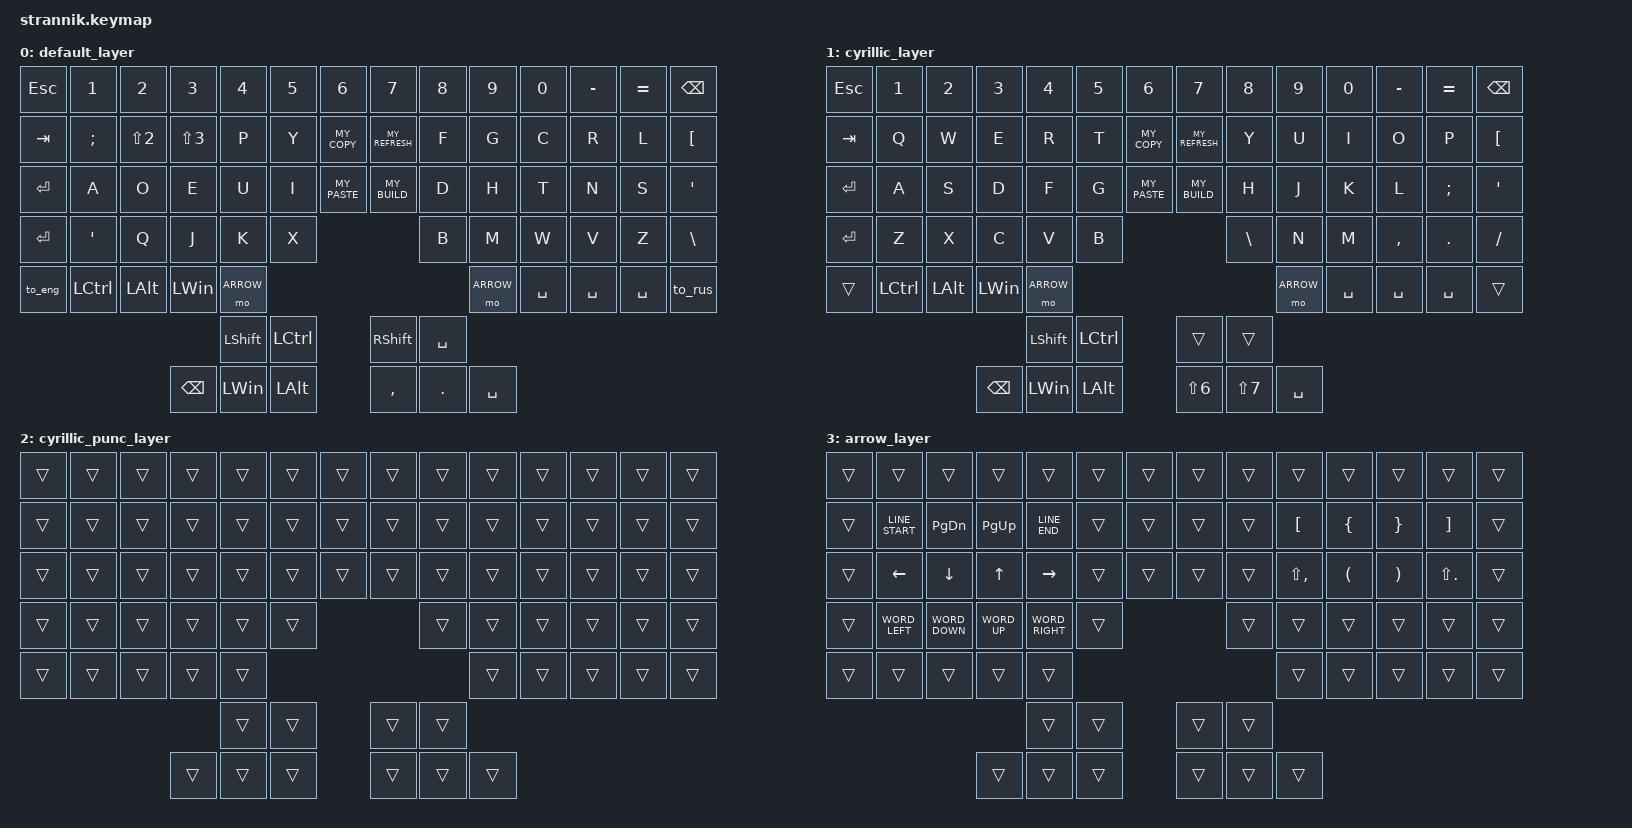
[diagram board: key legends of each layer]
/*
 * Copyright (c) 2020 The ZMK Contributors
 *
 * SPDX-License-Identifier: MIT
 */

#include <behaviors.dtsi>
#include <dt-bindings/zmk/keys.h>
#include <dt-bindings/zmk/bt.h>
// #include "macos/macros.keymap"
#include "platform/macos.keymap"


#define DEF 0
#define CYRILLIC 1
#define CYRILLIC_PUNC 2
#define ARROW 3

&lt { quick_tap_ms = <200>; };
&mt { quick_tap_ms = <200>; };

/ {
    combos {
        compatible = "zmk,combos";

        cb_cut {
            bindings = <&kp MY_CUT>;
            key-positions = <20 34>;
        };

        cb_spdot {
            bindings = <&kp KP_DOT &kp SPACE>;
            key-positions = <72 73>;
        };

        word_bspc {
            bindings = <&kp WORD_BSPC>;
            key-positions = <64 68>;
        };
        
        line_bspc {
            bindings = <&kp LINE_BSPC>;
            key-positions = <68 69>; 
        };
    };

    macros {
        to_eng: to_eng {
            label = "to_eng";
            compatible = "zmk,behavior-macro";
            #binding-cells = <0>;
            bindings = <&to DEF>, <&kp MY_LANG_EN>;
        };
        to_rus: to_rus {
            label = "to_rus";
            compatible = "zmk,behavior-macro";
            #binding-cells = <0>;
            bindings = <&to CYRILLIC>, <&kp MY_LANG_RU>;
        };
    };
    
    keymap {
        compatible = "zmk,keymap";

        default_layer {
// -------------------------------------------------------------------------------------------------------
// |  ESC |  &   |  [   |  {   |  }   |  (   |  =   |   |  *   |  )   |  +   |  ]   |  !   |  #   | BSPC |
// |  TAB | SEMI |  ,   |  .   |  P   |  Y   |  _   |   |  _   |  F   |  G   |  C   |  R   |  L   |  /   |
// |  RET |  A   |  O   |  E   |  U   |  I   |  _   |   |  _   |  D   |  H   |  T   |  N   |  S   |  -   |
// | LSHFT|  '   |  Q   |  J   |  K   |  X   |                 |  B   |  M   |  W   |  V   |  Z   |  \   |
// |  FN  | LCTRL| LALT | LWIN | SPACE|                               |  _   |  _   |  _   |  _   |  _   |
// | LWIN | LALT | SPACE| LCTRL| RET  |                               | RSHFT| RET  | SPACE| RALT | RWIN |

            bindings = <
    &kp ESC         &kp N1    &kp N2     &kp N3     &kp N4    &kp N5    &kp N6            &kp N7         &kp N8    &kp N9    &kp N0    &kp MINUS &kp EQUAL &kp BSPC
    &kp TAB         &kp SEMI  &kp LS(N2) &kp LS(N3) &kp P     &kp Y     &kp MY_COPY       &kp MY_REFRESH &kp F     &kp G     &kp C     &kp R     &kp L     &kp LBKT
    &kp RET         &kp A     &kp O      &kp E      &kp U     &kp I     &kp MY_PASTE      &kp MY_BUILD   &kp D     &kp H     &kp T     &kp N     &kp S     &kp SQT
    &kp RET         &kp SQT   &kp Q      &kp J      &kp K     &kp X                                      &kp B     &kp M     &kp W     &kp V     &kp Z     &kp BSLH
    &to_eng         &kp LCTRL &kp LALT   &kp LWIN   &mo ARROW                                                      &mo ARROW &kp SPACE &kp SPACE &kp SPACE &to_rus
                                                  &kp LSHIFT &kp LCTRL                  &kp RSHIFT &kp SPACE
                                              &kp BSPC  &kp LWIN &kp LALT            &kp COMMA &kp DOT &kp SPACE              
            >;
        };// &[{}(= *)+]!#

        cyrillic_layer {
// -------------------------------------------------------------------------------------------------------
// |  ESC |  &   |  [   |  {   |  }   |  (   |  =   |   |  *   |  )   |  +   |  ]   |  !   |  #   | BSPC |
// |  TAB | SEMI |  ,   |  .   |  P   |  Y   |  _   |   |  _   |  F   |  G   |  C   |  R   |  L   |  /   |
// |  RET |  A   |  O   |  E   |  U   |  I   |  _   |   |  _   |  D   |  H   |  T   |  N   |  S   |  -   |
// | LSHFT|  '   |  Q   |  J   |  K   |  X   |                 |  B   |  M   |  W   |  V   |  Z   |  \   |
// |  FN  | LCTRL| LALT | LWIN | SPACE|                               |  _   |  _   |  _   |  _   |  _   |
// | LWIN | LALT | SPACE| LCTRL| RET  |                               | RSHFT| RET  | SPACE| RALT | RWIN |

            bindings = <
    &kp ESC         &kp N1    &kp N2    &kp N3    &kp N4    &kp N5    &kp N6            &kp N7         &kp N8    &kp N9    &kp N0    &kp MINUS &kp EQUAL &kp BSPC
    &kp TAB         &kp Q     &kp W     &kp E     &kp R     &kp T     &kp MY_COPY       &kp MY_REFRESH &kp Y     &kp U     &kp I     &kp O     &kp P     &kp LBKT
    &kp RET         &kp A     &kp S     &kp D     &kp F     &kp G     &kp MY_PASTE      &kp MY_BUILD   &kp H     &kp J     &kp K     &kp L     &kp SEMI  &kp SQT
    &kp RET         &kp Z     &kp X     &kp C     &kp V     &kp B                                      &kp BSLH  &kp N     &kp M     &kp COMMA &kp DOT   &kp FSLH  
    &trans          &kp LCTRL &kp LALT  &kp LWIN  &mo ARROW                                                      &mo ARROW &kp SPACE &kp SPACE &kp SPACE &trans
                                                &kp LSHIFT &kp LCTRL                  &trans    &trans
                                            &kp BSPC  &kp LWIN &kp LALT            &kp LS(N6) &kp LS(N7) &kp SPACE              
            >;
        };

        cyrillic_punc_layer {
            bindings = <
    &trans    &trans    &trans    &trans    &trans    &trans    &trans            &trans    &trans    &trans    &trans    &trans    &trans    &trans       
    &trans    &trans    &trans    &trans    &trans    &trans    &trans            &trans    &trans    &trans    &trans    &trans    &trans    &trans       
    &trans    &trans    &trans    &trans    &trans    &trans    &trans            &trans    &trans    &trans    &trans    &trans    &trans    &trans       
    &trans    &trans    &trans    &trans    &trans    &trans                                &trans    &trans    &trans    &trans    &trans    &trans      
    &trans    &trans    &trans    &trans    &trans                                                    &trans    &trans    &trans    &trans    &trans       
                                                &trans    &trans                      &trans    &trans
                                            &trans    &trans   &trans             &trans    &trans    &trans                  
            >;
        };

        arrow_layer {
// -------------------------------------------------------------------------------------------------------
// |  ESC |  &   |  [   |  {   |  }   |  (   |  =   |   |  *   |  )   |  +   |  ]   |  !   |  #   | BSPC |
// |  TAB | SEMI |  ,   |  .   |  P   |  Y   |  _   |   |  _   |  F   |  G   |  C   |  R   |  L   |  /   |
// |  RET |  A   |  O   |  E   |  U   |  I   |  _   |   |  _   |  D   |  H   |  T   |  N   |  S   |  -   |
// | LSHFT|  '   |  Q   |  J   |  K   |  X   |                 |  B   |  M   |  W   |  V   |  Z   |  \   |
// |  FN  | LCTRL| LALT | LWIN | SPACE|                               |  _   |  _   |  _   |  _   |  _   |
// | LWIN | LALT | SPACE| LCTRL| RET  |                               | RSHFT| RET  | SPACE| RALT | RWIN |

            bindings = <
    &trans    &trans         &trans           &trans         &trans          &trans    &trans            &trans    &trans    &trans              &trans          &trans          &trans             &trans       
    &trans    &kp LINE_START &kp PAGE_DOWN    &kp PAGE_UP    &kp LINE_END    &trans    &trans            &trans    &trans    &kp LEFT_BRACKET    &kp LEFT_BRACE  &kp RIGHT_BRACE &kp RIGHT_BRACKET  &trans       
    &trans    &kp LEFT       &kp DOWN         &kp UP         &kp RIGHT       &trans    &trans            &trans    &trans    &kp LS(COMMA)       &kp LPAR        &kp RPAR        &kp LS(DOT)        &trans       
    &trans    &kp WORD_LEFT  &kp WORD_DOWN    &kp WORD_UP    &kp WORD_RIGHT  &trans                                &trans    &trans              &trans          &trans          &trans             &trans      
    &trans    &trans         &trans           &trans         &trans                                                          &trans              &trans          &trans          &trans             &trans       
                                                        &trans    &trans                      &trans    &trans
                                                    &trans    &trans   &trans             &trans    &trans    &trans                  
            >;
        };

        // copy fully transparent layer from here
//         template_layer {
// // -------------------------------------------------------------------------------------------------------
// // |  ESC |  &   |  [   |  {   |  }   |  (   |  =   |   |  *   |  )   |  +   |  ]   |  !   |  #   | BSPC |
// // |  TAB | SEMI |  ,   |  .   |  P   |  Y   |  _   |   |  _   |  F   |  G   |  C   |  R   |  L   |  /   |
// // |  RET |  A   |  O   |  E   |  U   |  I   |  _   |   |  _   |  D   |  H   |  T   |  N   |  S   |  -   |
// // | LSHFT|  '   |  Q   |  J   |  K   |  X   |                 |  B   |  M   |  W   |  V   |  Z   |  \   |
// // |  FN  | LCTRL| LALT | LWIN | SPACE|                               |  _   |  _   |  _   |  _   |  _   |
// // | LWIN | LALT | SPACE| LCTRL| RET  |                               | RSHFT| RET  | SPACE| RALT | RWIN |

//             bindings = <
//     &trans    &trans    &trans    &trans    &trans    &trans    &trans            &trans    &trans    &trans    &trans    &trans    &trans    &trans       
//     &trans    &trans    &trans    &trans    &trans    &trans    &trans            &trans    &trans    &trans    &trans    &trans    &trans    &trans       
//     &trans    &trans    &trans    &trans    &trans    &trans    &trans            &trans    &trans    &trans    &trans    &trans    &trans    &trans       
//     &trans    &trans    &trans    &trans    &trans    &trans                                &trans    &trans    &trans    &trans    &trans    &trans      
//     &trans    &trans    &trans    &trans    &trans                                                    &trans    &trans    &trans    &trans    &trans       
//                                                 &trans    &trans                      &trans    &trans
//                                             &trans    &trans   &trans             &trans    &trans    &trans                  
//             >;
//         };
    }; 
};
